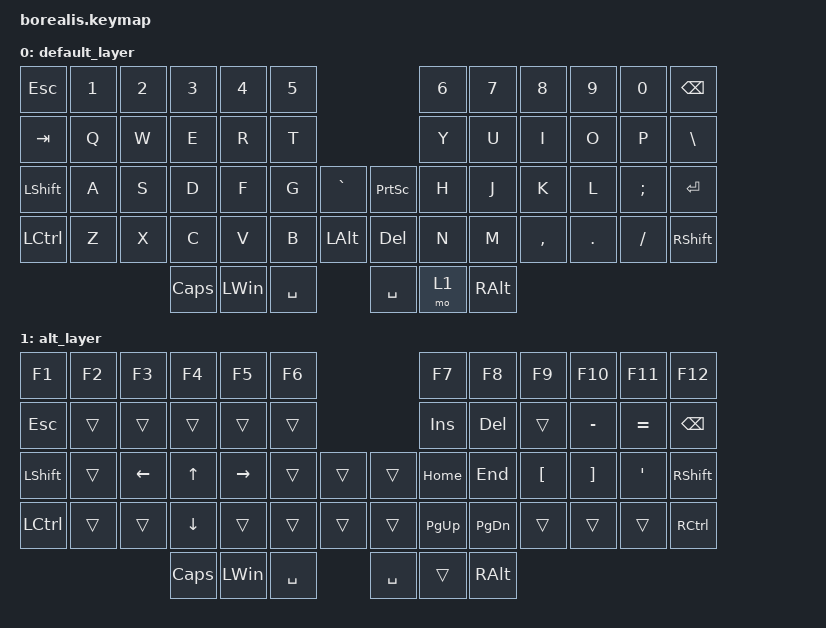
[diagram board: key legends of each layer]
/*
 * Copyright (c) 2020 The ZMK Contributors
 *
 * SPDX-License-Identifier: MIT
 */

#include <behaviors.dtsi>
#include <dt-bindings/zmk/keys.h>
#include <dt-bindings/zmk/bt.h>

/ {
        keymap {
                compatible = "zmk,keymap";

                default_layer {
// -----------------------------------------------------------------------------------------
// |  ESC |  1  |  2  |  3  |  4  |  5  |               |  6  |  7  |  8  |  9  |  0  | BSPC |
// |  TAB |  Q  |  W  |  E  |  R  |  T  |               |  Y  |  U  |  I  |  O  |  P  |  |   |
// | SHFT |  A  |  S  |  D  |  F  |  G  |  G  |   |  G  |  H  |  J  |  K  |  L  |  ;  | ENTR |
// | CTRL |  Z  |  X  |  C  |  V  |  B  | RALT |   |  G  |  N  |  M  |  ,  |  .  |  /  | SHFT |
//                    | CAPS| WIN | SPC |               | SPC | FNC | ALT |
                        bindings = <
   &kp ESC   &kp N1 &kp N2 &kp N3 &kp N4 &kp N5                        &kp N6 &kp N7  &kp N8     &kp N9   &kp N0    &kp BSPC
   &kp TAB   &kp Q  &kp W  &kp E  &kp R  &kp T                         &kp Y  &kp U   &kp I      &kp O    &kp P     &kp BSLH
   &kp LSHFT &kp A  &kp S  &kp D  &kp F  &kp G &kp GRAVE     &kp PSCRN &kp H  &kp J   &kp K      &kp L    &kp SEMI  &kp ENTER
   &kp LCTRL &kp Z  &kp X  &kp C  &kp V  &kp B &kp LALT      &kp DEL   &kp N  &kp M   &kp COMMA  &kp DOT  &kp FSLH  &kp RSHFT
                           &kp CAPS &kp LWIN &kp SPACE          &kp SPACE &mo 1 &kp RALT
                        >;
                };
                alt_layer {
// -----------------------------------------------------------------------------------------
// |  F1  |  F2 |  F3 |  F4 |  F5 |  F6 |   |  F7 |  F8 |  F9 | F10 | F11 | F12  |      
// |  ESC |     |     |     |     |     |   |     |     |     |  -  |  =  | DEL  |
// | SHFT |     |     | LFT |  UP | RGT |   |     |     |  {  |  }  | SQT | ENTR |
// | CTRL |     |     |     | DWN |     |   |     |     |     |     |     | SHFT |
//                    | CAPS| WIN | SPC |   | SPC | FNC | ALT |
                        bindings = <
   &kp F1     &kp F2  &kp F3   &kp F4   &kp F5    &kp F6                  &kp F7    &kp F8    &kp F9   &kp F10   &kp F11   &kp F12
   &kp ESC    &trans  &trans   &trans   &trans    &trans                  &kp INS   &kp DEL   &trans   &kp MINUS &kp EQUAL &kp BSPC
   &kp LSHFT  &trans  &kp LEFT &kp UP   &kp RIGHT &trans &trans     &trans &kp HOME  &kp END   &kp LBKT &kp RBKT  &kp SQT   &kp RSHFT
   &kp LCTRL  &trans  &trans   &kp DOWN &trans    &trans &trans     &trans &kp PG_UP &kp PG_DN &trans   &trans    &trans    &kp RCTRL
                                  &kp CAPS &kp LWIN &kp SPACE           &kp SPACE &trans &kp RALT
                        >;

                }; 
        };
};
